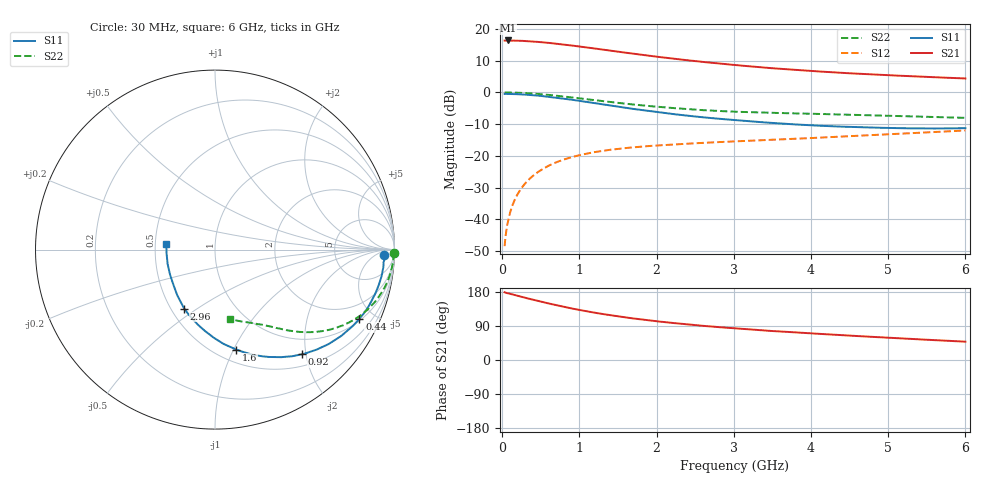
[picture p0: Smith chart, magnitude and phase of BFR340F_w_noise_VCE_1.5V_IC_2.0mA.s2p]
! Infineon Technologies  Discrete & RF Semiconductors
! BFR340F
! VCE =  1.5 V,  IC =  2.0 mA
! Common Emitter S-Parameters:  Nov 2015
# GHz  S  MA  R  50
!  f  S11  S21  S12  S22
! GHz  MAG  ANG  MAG  ANG  MAG  ANG  MAG  ANG
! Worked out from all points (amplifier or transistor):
!   206 points, 30 MHz to 6 GHz, reference 50 ohm
!   highest |S21| = 16.3 dB at 70 MHz (marker M1)
!   |S21| within 3 dB of that: start of sweep to 1.337 GHz
!   unconditionally stable (mu >= 1): 4.475 GHz to end of sweep
!   at 200 MHz: K = 0.06, MSG = 24.1 dB, |S12| = -32.0 dB
!   at 1.56 GHz: K = 0.51, MSG = 15.1 dB, |S12| = -17.6 dB
!   at 6 GHz: K = 1.04, MAG = 7.0 dB, |S12| = -12.0 dB
!   lowest NFmin = 0.79 dB at 450 MHz
!   S11 on the Smith chart (normalised r, x): 30 MHz: 27, -14; 440 MHz: 1.09, -4.13; 920 MHz: 0.70, -1.93; 1.6 GHz: 0.62, -1.02; 2.96 GHz: 0.58, -0.44; 6 GHz: 0.57, +0.04
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0.03  0.9436 -1.8  6.523 178.7  0.0038 87.2  0.996 -1.1
0.05  0.9445 -3.2  6.488 176.9  0.0062 86.2  0.9955 -1.9
0.06  0.9441 -3.7  6.485 176.6  0.0078 86.7  0.9958 -2.3
0.07  0.9416 -4.3  6.546 176.0  0.0088 87.7  0.9955 -2.7
0.115  0.9419 -6.8  6.511 174.0  0.0146 85.6  0.9932 -4.5
0.195  0.9347 -11.6  6.495 169.7  0.0246 83.0  0.9863 -7.5
0.32  0.9158 -18.9  6.389 163.1  0.0397 78.6  0.9699 -12.2
0.44  0.8922 -25.6  6.238 157.0  0.0533 74.8  0.9478 -16.4
0.6  0.852 -34.4  5.999 149.2  0.0699 69.8  0.9116 -21.7
0.7  0.8239 -39.6  5.828 144.5  0.0794 67.1  0.8861 -24.8
0.92  0.7585 -50.2  5.412 135.2  0.0971 61.6  0.8266 -30.8
1.04  0.7218 -55.7  5.184 130.6  0.1053 59.1  0.7943 -33.6
1.3  0.6474 -66.5  4.702 121.4  0.1202 54.6  0.7282 -39.0
1.6  0.5695 -78.0  4.199 112.2  0.133 50.8  0.6613 -43.9
2.02  0.4869 -91.5  3.611 101.8  0.1462 47.6  0.5914 -49.0
2.42  0.4267 -103.3  3.176 93.5  0.1562 46.1  0.5421 -52.9
2.96  0.3703 -117.5  2.724 84.3  0.168 45.4  0.4986 -57.3
3.1  0.3585 -120.5  2.631 82.3  0.1709 45.5  0.4918 -58.2
3.5  0.3297 -129.7  2.392 76.4  0.1793 45.8  0.4753 -60.6
4.1  0.2986 -142.3  2.13 69.1  0.1934 46.9  0.4575 -63.4
5.1  0.2738 -165.7  1.836 57.7  0.2208 48.7  0.4241 -70.4
6  0.2732 173.2  1.652 48.4  0.2515 50.0  0.3968 -77.8
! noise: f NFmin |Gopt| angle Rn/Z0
0.45  0.79  0.7  4  0.44
0.9  0.8  0.67  13  0.47
1.9  1.11  0.54  23  0.41
2.4  1.2  0.51  33  0.4
